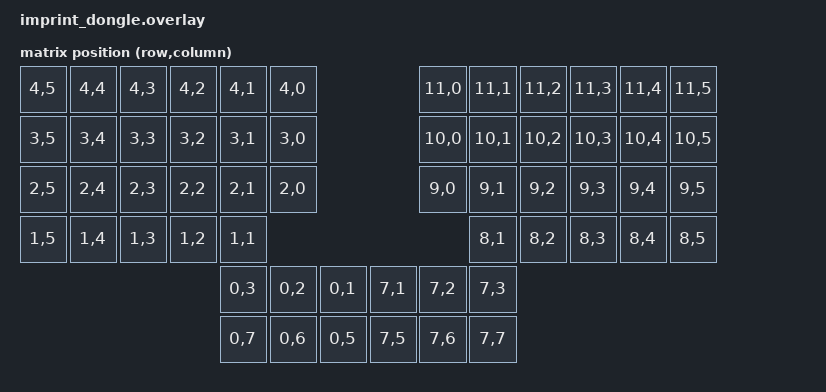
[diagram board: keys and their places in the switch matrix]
// Minimal overlay for the dongle. The dongle has no physical keys, so
// kscan is mocked. The matrix transform and trackball-listener labels
// declared here mirror the minimum subset of the imprint shield's
// imprint.dtsi that the user keymap needs to reference, kept inside
// this dongle shield so it stays standalone (does not pull in
// imprint.dtsi or its trackball SPI devices). Changes to the imprint
// shield's imprint.dtsi may need to be tracked here.

#include <dt-bindings/zmk/matrix_transform.h>
#include <input/processors.dtsi>
#include <dt-bindings/zmk/input_transform.h>

/ {
    chosen {
        zmk,kscan = &kscan_dongle;
        zmk,matrix-transform = &imprint_letters_only_full_bottom_row;
    };

    kscan_dongle: kscan_dongle {
        compatible = "zmk,kscan-mock";
        rows = <0>;
        columns = <0>;
        events = <0>;
    };

    imprint_letters_only_full_bottom_row: keymap_transform_8 {
        compatible = "zmk,matrix-transform";
        columns = <8>;
        rows = <14>;
        map = <
RC(4,5) RC(4,4) RC(4,3) RC(4,2) RC(4,1) RC(4,0)                           RC(11,0) RC(11,1) RC(11,2) RC(11,3) RC(11,4) RC(11,5)
RC(3,5) RC(3,4) RC(3,3) RC(3,2) RC(3,1) RC(3,0)                           RC(10,0) RC(10,1) RC(10,2) RC(10,3) RC(10,4) RC(10,5)
RC(2,5) RC(2,4) RC(2,3) RC(2,2) RC(2,1) RC(2,0)                           RC(9,0)  RC(9,1)  RC(9,2)  RC(9,3)  RC(9,4)  RC(9,5)
RC(1,5) RC(1,4) RC(1,3) RC(1,2) RC(1,1)                                            RC(8,1)  RC(8,2)  RC(8,3)  RC(8,4)  RC(8,5)
                                    RC(0,3) RC(0,2) RC(0,1)   RC(7,1) RC(7,2) RC(7,3)
                                    RC(0,7) RC(0,6) RC(0,5)   RC(7,5) RC(7,6) RC(7,7)
        >;
    };

    // Receive endpoints for trackball events forwarded from the
    // peripheral halves over BLE. On the dongle (central) side these
    // nodes act as proxies and don't carry a `device` property — that
    // is handled by ZMK's input_split central path. The `reg` values
    // must match the peripheral side (right = 0, left = 1).
    split_inputs {
        #address-cells = <1>;
        #size-cells = <0>;

        trackball_peripheral_split: trackball_peripheral_split@0 {
            compatible = "zmk,input-split";
            reg = <0>;
        };

        trackball_central_split: trackball_central_split@1 {
            compatible = "zmk,input-split";
            reg = <1>;
        };
    };

    // Right trackball -> standard mouse input listener.
    trackball_peripheral_listener: trackball_peripheral_listener {
        compatible = "zmk,input-listener";
        device = <&trackball_peripheral_split>;
    };

    // Left trackball -> listener whose downstream processors are
    // applied by the user keymap (e.g. always-scroll behavior). This
    // shield only enables the listener and points it at the split
    // proxy; the processors themselves live on the keymap side.
    trackball_central_listener: trackball_central_listener {
        compatible = "zmk,input-listener";
        device = <&trackball_central_split>;
    };
};
